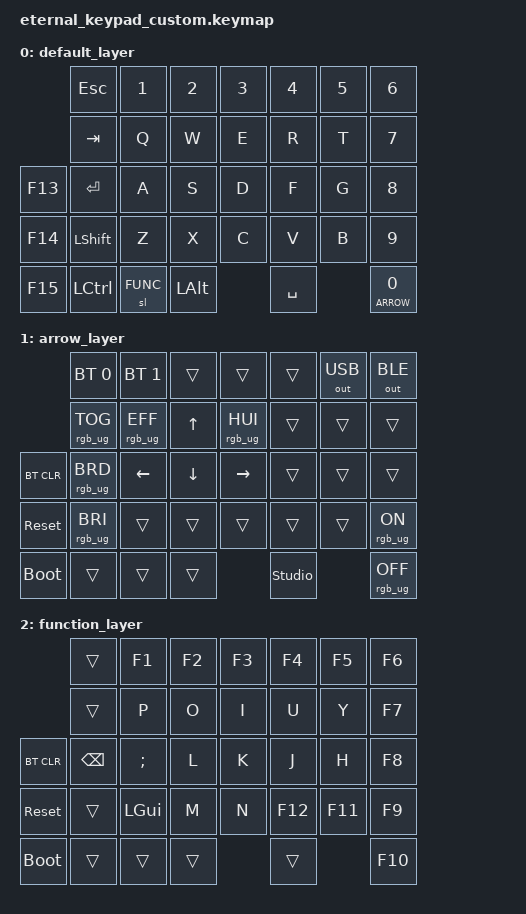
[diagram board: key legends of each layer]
/*
 * Copyright (c) 2022 The ZMK Contributors
 *
 * SPDX-License-Identifier: MIT
 */

#include <behaviors.dtsi>
#include <dt-bindings/zmk/keys.h>
#include <dt-bindings/zmk/bt.h>
#include <dt-bindings/zmk/outputs.h>
#include <dt-bindings/zmk/rgb.h>

#define BASE        0
#define ARROW       1
#define FUNC        2

/ {
  keymap {
    compatible = "zmk,keymap";

    default_layer {
      bindings = <
                    &kp ESC   &kp N1    &kp N2   &kp N3    &kp N4    &kp N5  &kp N6
                    &kp TAB   &kp Q     &kp W    &kp E     &kp R     &kp T   &kp N7
        &kp F13     &kp ENTER &kp A     &kp S    &kp D     &kp F     &kp G   &kp N8
        &kp F14     &kp LSHFT &kp Z     &kp X    &kp C     &kp V     &kp B   &kp N9
        &kp F15     &kp LCTRL &sl FUNC  &kp LALT           &kp SPACE         &lt ARROW N0
      >;
    };

    arrow_layer {
      bindings = <
                    &bt BT_SEL 0     &bt BT_SEL 1     &trans     &trans         &trans  &out OUT_USB &out OUT_BLE
                    &rgb_ug RGB_TOG  &rgb_ug RGB_EFF  &kp UP     &rgb_ug RGB_HUI   &trans  &trans       &trans
        &bt BT_CLR  &rgb_ug RGB_BRD  &kp LEFT         &kp DOWN   &kp RIGHT      &trans  &trans       &trans
        &sys_reset  &rgb_ug RGB_BRI  &trans           &trans     &trans         &trans  &trans       &rgb_ug RGB_ON
        &bootloader &trans           &trans           &trans           &studio_unlock           &rgb_ug RGB_OFF
      >;
    };

    function_layer {
      bindings = <
                    &trans    &kp F1    &kp F2   &kp F3    &kp F4   &kp F5   &kp F6
                    &trans    &kp P     &kp O    &kp I     &kp U    &kp Y    &kp F7
        &bt BT_CLR  &kp BSPC  &kp SEMI  &kp L    &kp K     &kp J    &kp H    &kp F8
        &sys_reset  &trans    &kp LGUI  &kp M    &kp N     &kp F12  &kp F11  &kp F9
        &bootloader &trans    &trans    &trans             &trans            &kp F10
      >;
    };
  };
};
